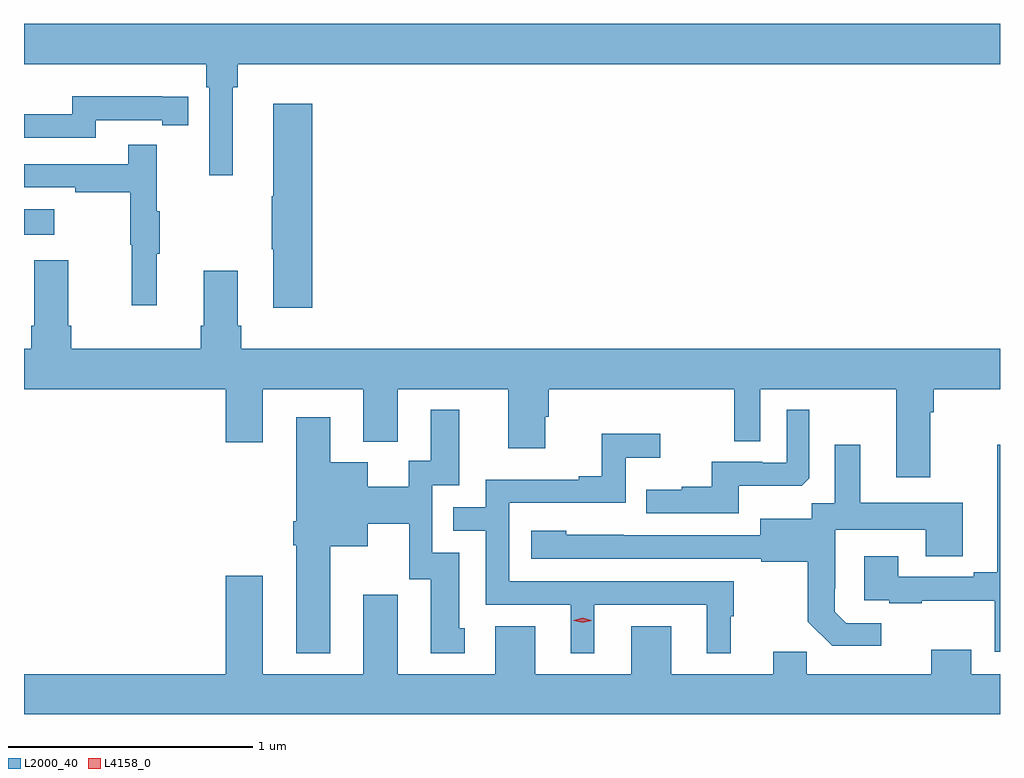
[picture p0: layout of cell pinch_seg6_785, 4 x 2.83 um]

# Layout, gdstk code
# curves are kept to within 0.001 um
import gdstk
lib = gdstk.Library(unit=1e-6, precision=1e-09)
def R(c, l, rs):  # rectangles x0, y0, x1, y1
    for r in rs: c.add(gdstk.rectangle(r[:2], r[2:], *l))
def P(c, l, *ps):  # polygons
    for p in ps: c.add(gdstk.Polygon(p, *l))
L2000_40 = (2000, 40)
L4158_0 = (4158, 0)

pinch_seg6_785 = lib.new_cell('pinch_seg6_785')
R(pinch_seg6_785, L2000_40, [(205.386,977.273,205.51,977.377)])
P(pinch_seg6_785, L2000_40, [(206.242,977.876),(206.261,977.876),(206.261,977.972),(209.386,977.972),(209.386,978.136),(205.386,978.136),(205.386,977.972),(206.132,977.972),(206.132,977.876),(206.145,977.876),(206.145,977.517),(206.242,977.517)],
  [(205.68,977.742),(205.952,977.742),(205.952,977.722),(206.06,977.722),(206.06,977.838),(205.952,977.838),(205.952,977.839),(205.584,977.839),(205.584,977.766),(205.386,977.766),(205.386,977.67),(205.68,977.67)],
  [(206.567,977.809),(206.408,977.809),(206.408,977.429),(206.401,977.429),(206.401,977.212),(206.408,977.212),(206.408,976.974),(206.567,976.974)],
  [(205.931,977.195),(205.942,977.195),(205.942,977.369),(205.931,977.369),(205.931,977.641),(205.813,977.641),(205.813,977.562),(205.386,977.562),(205.386,977.466),(205.597,977.466),(205.597,977.446),(205.821,977.446),(205.821,977.232),(205.828,977.232),(205.828,976.983),(205.931,976.983)],
  [(209.101,976.544),(209.114,976.544),(209.114,976.64),(209.386,976.64),(209.386,976.804),(206.276,976.804),(206.276,976.9),(206.263,976.9),(206.263,977.125),(206.123,977.125),(206.123,976.9),(206.111,976.9),(206.111,976.804),(205.58,976.804),(205.58,976.9),(205.567,976.9),(205.567,977.167),(205.427,977.167),(205.427,976.9),(205.415,976.9),(205.415,976.804),(205.386,976.804),(205.386,976.64),(206.213,976.64),(206.213,976.422),(206.365,976.422),(206.365,976.64),(206.777,976.64),(206.777,976.424),(206.917,976.424),(206.917,976.64),(207.371,976.64),(207.371,976.398),(207.523,976.398),(207.523,976.527),(207.536,976.527),(207.536,976.64),(208.296,976.64),(208.296,976.426),(208.404,976.426),(208.404,976.64),(208.961,976.64),(208.961,976.278),(209.101,976.278)],
  [(206.641,975.995),(206.794,975.995),(206.794,976.088),(206.964,976.088),(206.964,975.861),(207.053,975.861),(207.053,975.558),(207.193,975.558),(207.193,975.66),(207.169,975.66),(207.169,975.969),(207.06,975.969),(207.06,976.245),(207.169,976.245),(207.169,976.555),(207.053,976.555),(207.053,976.346),(206.963,976.346),(206.963,976.24),(206.794,976.24),(206.794,976.339),(206.641,976.339),(206.641,976.525),(206.501,976.525),(206.501,976.099),(206.489,976.099),(206.489,975.999),(206.501,975.999),(206.501,975.557),(206.641,975.557)],
  [(208.315,976.244),(208.573,976.244),(208.605,976.275),(208.605,976.555),(208.512,976.555),(208.512,976.338),(208.412,976.338),(208.412,976.341),(208.205,976.341),(208.205,976.24),(208.081,976.24),(208.081,976.228),(207.937,976.228),(207.937,976.131),(208.315,976.131)],
  [(207.724,975.756),(208.184,975.756),(208.184,975.557),(208.282,975.557),(208.282,975.708),(208.294,975.708),(208.294,975.852),(207.375,975.852),(207.375,976.173),(207.852,976.173),(207.852,976.358),(207.994,976.358),(207.994,976.457),(207.754,976.457),(207.754,976.282),(207.659,976.282),(207.659,976.269),(207.279,976.269),(207.279,976.155),(207.145,976.155),(207.145,976.059),(207.279,976.059),(207.279,975.756),(207.626,975.756),(207.626,975.557),(207.724,975.557)],
  [(208.9,975.681),(208.755,975.681),(208.708,975.728),(208.708,975.823),(208.71,975.823),(208.71,976.064),(209.081,976.064),(209.081,975.955),(209.233,975.955),(209.233,976.174),(208.813,976.174),(208.813,976.411),(208.709,976.411),(208.709,976.172),(208.614,976.172),(208.614,976.108),(208.403,976.108),(208.403,976.041),(207.609,976.042),(207.609,976.06),(207.465,976.06),(207.465,975.945),(208.407,975.945),(208.407,975.933),(208.599,975.933),(208.599,975.687),(208.699,975.587),(208.9,975.587)],
  [(209.386,976.411),(209.375,976.411),(209.375,975.889),(209.279,975.889),(209.279,975.87),(208.969,975.87),(208.969,975.955),(208.829,975.955),(208.829,975.774),(208.933,975.774),(208.933,975.762),(209.065,975.762),(209.065,975.773),(209.364,975.773),(209.364,975.564),(209.386,975.564)],
  [(209.386,975.472),(209.269,975.472),(209.269,975.571),(209.105,975.571),(209.105,975.472),(208.595,975.472),(208.595,975.563),(208.457,975.563),(208.457,975.472),(208.039,975.472),(208.039,975.667),(207.875,975.667),(207.875,975.472),(207.481,975.472),(207.481,975.667),(207.317,975.667),(207.317,975.472),(206.917,975.472),(206.917,975.796),(206.777,975.796),(206.777,975.472),(206.365,975.472),(206.365,975.874),(206.213,975.874),(206.213,975.472),(205.386,975.472),(205.386,975.308),(209.386,975.308)])
P(pinch_seg6_785, L4158_0, [(207.675,975.682),(207.639,975.691),(207.639,975.692),(207.639,975.692),(207.675,975.702),(207.71,975.692),(207.711,975.692),(207.71,975.691)])

lib.write_gds('pinch_seg6_785.gds')
